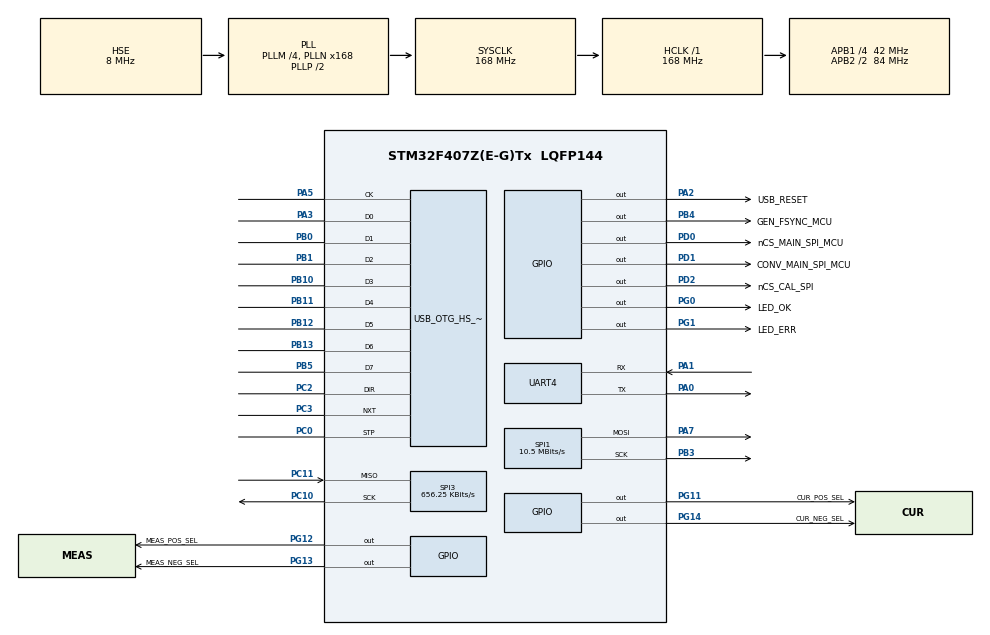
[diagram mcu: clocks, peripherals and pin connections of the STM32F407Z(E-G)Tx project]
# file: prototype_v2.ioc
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Dma.Request0=SPI1_TX
Dma.SPI1_TX.0.Direction=DMA_MEMORY_TO_PERIPH
Dma.SPI1_TX.0.FIFOMode=DMA_FIFOMODE_DISABLE
Dma.SPI1_TX.0.Instance=DMA2_Stream3
Dma.SPI1_TX.0.MemDataAlignment=DMA_MDATAALIGN_BYTE
Dma.SPI1_TX.0.MemInc=DMA_MINC_ENABLE
Dma.SPI1_TX.0.Mode=DMA_NORMAL
Dma.SPI1_TX.0.PeriphDataAlignment=DMA_PDATAALIGN_BYTE
Dma.SPI1_TX.0.PeriphInc=DMA_PINC_DISABLE
Dma.SPI1_TX.0.Priority=DMA_PRIORITY_HIGH
Mcu.Family=STM32F4
Mcu.Name=STM32F407Z(E-G)Tx
Mcu.Package=LQFP144
NVIC.DMA2_Stream3_IRQn=true\:0\:0\:false\:false\:true\:false\:true\:true
NVIC.OTG_HS_IRQn=true\:0\:0\:false\:false\:true\:false\:true\:true
NVIC.PriorityGroup=NVIC_PRIORITYGROUP_4
NVIC.TIM1_BRK_TIM9_IRQn=true\:0\:0\:false\:false\:true\:true\:true\:true
NVIC.TIM1_CC_IRQn=true\:0\:0\:false\:false\:true\:true\:true\:true
NVIC.TIM1_TRG_COM_TIM11_IRQn=true\:0\:0\:false\:false\:true\:true\:true\:true
NVIC.TIM1_UP_TIM10_IRQn=true\:0\:0\:false\:false\:true\:true\:true\:true
NVIC.UART4_IRQn=true\:0\:0\:false\:false\:true\:true\:true\:true
PA0-WKUP.Mode=Asynchronous
PA0-WKUP.Signal=UART4_TX
PA1.Mode=Asynchronous
PA1.Signal=UART4_RX
PA13.Mode=Serial_Wire
PA13.Signal=SYS_JTMS-SWDIO
PA14.Mode=Serial_Wire
PA14.Signal=SYS_JTCK-SWCLK
PA2.GPIO_Label=USB_RESET
PA2.Signal=GPIO_Output
PA3.Mode=Device_HS
PA3.Signal=USB_OTG_HS_ULPI_D0
PA5.Mode=Device_HS
PA5.Signal=USB_OTG_HS_ULPI_CK
PA7.Mode=TX_Only_Simplex_Unidirect_Master
PA7.Signal=SPI1_MOSI
PB0.Mode=Device_HS
PB0.Signal=USB_OTG_HS_ULPI_D1
PB1.Mode=Device_HS
PB1.Signal=USB_OTG_HS_ULPI_D2
PB10.Mode=Device_HS
PB10.Signal=USB_OTG_HS_ULPI_D3
PB11.Mode=Device_HS
PB11.Signal=USB_OTG_HS_ULPI_D4
PB12.Mode=Device_HS
PB12.Signal=USB_OTG_HS_ULPI_D5
PB13.Mode=Device_HS
PB13.Signal=USB_OTG_HS_ULPI_D6
PB3.Mode=TX_Only_Simplex_Unidirect_Master
PB3.Signal=SPI1_SCK
PB4.GPIO_Label=GEN_FSYNC_MCU
PB4.Signal=GPIO_Output
PB5.Mode=Device_HS
PB5.Signal=USB_OTG_HS_ULPI_D7
PC0.Mode=Device_HS
PC0.Signal=USB_OTG_HS_ULPI_STP
PC10.Mode=RX_Only_Simplex_Unidirect_Master
PC10.Signal=SPI3_SCK
PC11.Mode=RX_Only_Simplex_Unidirect_Master
PC11.Signal=SPI3_MISO
PC14-OSC32_IN.Mode=LSE-External-Oscillator
PC14-OSC32_IN.Signal=RCC_OSC32_IN
PC15-OSC32_OUT.Mode=LSE-External-Oscillator
PC15-OSC32_OUT.Signal=RCC_OSC32_OUT
PC2.Mode=Device_HS
PC2.Signal=USB_OTG_HS_ULPI_DIR
PC3.Mode=Device_HS
PC3.Signal=USB_OTG_HS_ULPI_NXT
PD0.GPIO_Label=nCS_MAIN_SPI_MCU
PD0.PinState=GPIO_PIN_RESET
PD0.Signal=GPIO_Output
PD1.GPIO_Label=CONV_MAIN_SPI_MCU
PD1.Signal=GPIO_Output
PD2.GPIO_Label=nCS_CAL_SPI
PD2.PinState=GPIO_PIN_RESET
PD2.Signal=GPIO_Output
PG0.GPIO_Label=LED_OK
PG0.Signal=GPIO_Output
PG1.GPIO_Label=LED_ERR
PG1.Signal=GPIO_Output
PG11.GPIO_Label=CUR_POS_SEL
PG11.Signal=GPIO_Output
PG12.GPIO_Label=MEAS_POS_SEL
PG12.Signal=GPIO_Output
PG13.GPIO_Label=MEAS_NEG_SEL
PG13.Signal=GPIO_Output
PG14.GPIO_Label=CUR_NEG_SEL
PG14.Signal=GPIO_Output
PH0-OSC_IN.Mode=HSE-External-Oscillator
PH0-OSC_IN.Signal=RCC_OSC_IN
PH1-OSC_OUT.Mode=HSE-External-Oscillator
PH1-OSC_OUT.Signal=RCC_OSC_OUT
ProjectManager.HeapSize=0x400
ProjectManager.StackSize=0x800
ProjectManager.TargetToolchain=STM32CubeIDE
RCC.48MHZClocksFreq_Value=84000000
RCC.AHBFreq_Value=168000000
RCC.APB1CLKDivider=RCC_HCLK_DIV4
RCC.APB1Freq_Value=42000000
RCC.APB1TimFreq_Value=84000000
RCC.APB2CLKDivider=RCC_HCLK_DIV2
RCC.APB2Freq_Value=84000000
RCC.APB2TimFreq_Value=168000000
RCC.CortexFreq_Value=168000000
RCC.HCLKFreq_Value=168000000
RCC.HSE_VALUE=8000000
RCC.HSI_VALUE=16000000
RCC.PLLM=4
RCC.PLLN=168
RCC.PLLSourceVirtual=RCC_PLLSOURCE_HSE
RCC.SYSCLKFreq_VALUE=168000000
RCC.SYSCLKSource=RCC_SYSCLKSOURCE_PLLCLK
RCC.VCOOutputFreq_Value=336000000
SPI1.BaudRatePrescaler=SPI_BAUDRATEPRESCALER_8
SPI1.CLKPhase=SPI_PHASE_1EDGE
SPI1.CLKPolarity=SPI_POLARITY_HIGH
SPI1.CalculateBaudRate=10.5 MBits/s
SPI1.DataSize=SPI_DATASIZE_8BIT
SPI1.Direction=SPI_DIRECTION_2LINES
SPI1.Mode=SPI_MODE_MASTER
SPI1.VirtualType=VM_MASTER
SPI3.BaudRatePrescaler=SPI_BAUDRATEPRESCALER_64
SPI3.CLKPhase=SPI_PHASE_2EDGE
SPI3.CLKPolarity=SPI_POLARITY_LOW
SPI3.CalculateBaudRate=656.25 KBits/s
SPI3.DataSize=SPI_DATASIZE_8BIT
SPI3.Direction=SPI_DIRECTION_2LINES_RXONLY
SPI3.Mode=SPI_MODE_MASTER
SPI3.VirtualType=VM_MASTER
TIM1.Channel-Output\ Compare1\ No\ Output=TIM_CHANNEL_1
TIM1.Period=210
UART4.VirtualMode=Asynchronous
USB_DEVICE.APP_RX_DATA_SIZE-CDC_HS=2048
USB_DEVICE.APP_TX_DATA_SIZE-CDC_HS=2048
USB_DEVICE.CLASS_NAME_HS=CDC
USB_DEVICE.VirtualMode-CDC_HS=Cdc
USB_DEVICE.VirtualModeHS=Cdc_HS
USB_OTG_HS.DeviceSpeed-Device_HS=PCD_SPEED_HIGH
USB_OTG_HS.VirtualMode-Device_HS=Device_HS
VP_TIM1_VS_ClockSourceINT.Mode=Internal
VP_TIM1_VS_no_output1.Mode=Output Compare1 No Output
VP_USB_DEVICE_VS_USB_DEVICE_CDC_HS.Mode=CDC_HS
board=custom

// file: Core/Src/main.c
/* USER CODE BEGIN Header */
/**
 ******************************************************************************
 * @file           : main.c
 * @brief          : Main program body
 ******************************************************************************
 * @attention
 *
 * Copyright (c) 2024 STMicroelectronics.
 * All rights reserved.
 *
 * This software is licensed under terms that can be found in the LICENSE file
 * in the root directory of this software component.
 * If no LICENSE file comes with this software, it is provided AS-IS.
 *
 ******************************************************************************
 */
/* USER CODE END Header */
#include "main.h"
#include "usb_device.h"

SPI_HandleTypeDef hspi1;
SPI_HandleTypeDef hspi3;
DMA_HandleTypeDef hdma_spi1_tx;

TIM_HandleTypeDef htim1;

UART_HandleTypeDef huart4;

/* USER CODE BEGIN PV */
uint8_t adc_buf[2] = {0,0};
float adc_res[2] = {0.0,0.0};
int16_t rx_val[2] = {0,0};

uint8_t adc_fl = 0;

/* USER CODE END PV */

void SystemClock_Config(void);
static void MX_GPIO_Init(void);
static void MX_DMA_Init(void);
static void MX_SPI1_Init(void);
static void MX_UART4_Init(void);
static void MX_SPI3_Init(void);
static void MX_TIM1_Init(void);

/* USER CODE BEGIN 0 */
void MCU_init(void)
{
	HAL_GPIO_WritePin(LED_OK_GPIO_Port,LED_OK_Pin,GPIO_PIN_SET);
	HAL_GPIO_WritePin(LED_ERR_GPIO_Port,LED_ERR_Pin,GPIO_PIN_SET);
	HAL_GPIO_WritePin(MEAS_POS_SEL_GPIO_Port,MEAS_POS_SEL_Pin,GPIO_PIN_SET);
	HAL_GPIO_WritePin(MEAS_NEG_SEL_GPIO_Port,MEAS_NEG_SEL_Pin,GPIO_PIN_SET);
	HAL_Delay(2000);
	HAL_GPIO_WritePin(LED_ERR_GPIO_Port,LED_ERR_Pin,GPIO_PIN_RESET);
}

void ADC_Read(uint8_t adc_num)
{

	//HAL_Delay(1);
	HAL_GPIO_WritePin(nCS_CAL_SPI_GPIO_Port, nCS_CAL_SPI_Pin, GPIO_PIN_SET);
	HAL_GPIO_WritePin(nCS_MAIN_SPI_MCU_GPIO_Port, nCS_MAIN_SPI_MCU_Pin, GPIO_PIN_SET);
	//HAL_Delay(1);
	HAL_GPIO_WritePin(CONV_MAIN_SPI_MCU_GPIO_Port, CONV_MAIN_SPI_MCU_Pin, GPIO_PIN_RESET);
	//HAL_Delay(1);
	HAL_GPIO_WritePin(CONV_MAIN_SPI_MCU_GPIO_Port, CONV_MAIN_SPI_MCU_Pin, GPIO_PIN_SET);
	//HAL_Delay(1);
	//switch (adc_num)
	//{
	//case 1:
	HAL_GPIO_WritePin(nCS_CAL_SPI_GPIO_Port, nCS_CAL_SPI_Pin, GPIO_PIN_RESET);
	//HAL_Delay(1);
	HAL_SPI_Receive(&hspi3, adc_buf, 2, -1);
	//HAL_Delay(1);
	HAL_GPIO_WritePin(nCS_CAL_SPI_GPIO_Port, nCS_CAL_SPI_Pin, GPIO_PIN_SET);
	uint16_t raw1 = ((uint16_t) (adc_buf[0]<<8)) | ((uint16_t) adc_buf[1]);
	int16_t * raw_s1 =  (int16_t *) (&raw1);
	rx_val[0] =  (*raw_s1);
	//	break;
	//case 0:
	HAL_GPIO_WritePin(nCS_MAIN_SPI_MCU_GPIO_Port, nCS_MAIN_SPI_MCU_Pin, GPIO_PIN_RESET);
	//HAL_Delay(1);
	HAL_SPI_Receive(&hspi3, adc_buf, 2, -1);
	//HAL_Delay(1);
	HAL_GPIO_WritePin(nCS_MAIN_SPI_MCU_GPIO_Port, nCS_MAIN_SPI_MCU_Pin, GPIO_PIN_SET);
	uint16_t raw = ((uint16_t) (adc_buf[0]<<8)) | ((uint16_t) adc_buf[1]);
	int16_t * raw_s =  (int16_t *) (&raw);
	rx_val[1] =  (*raw_s);

	HAL_GPIO_WritePin(CONV_MAIN_SPI_MCU_GPIO_Port, CONV_MAIN_SPI_MCU_Pin, GPIO_PIN_RESET);
	//HAL_Delay(1);
	HAL_GPIO_WritePin(CONV_MAIN_SPI_MCU_GPIO_Port, CONV_MAIN_SPI_MCU_Pin, GPIO_PIN_SET);
	//	break;
	//}
	//			HAL_GPIO_WritePin(nCS_CAL_SPI_GPIO_Port, nCS_CAL_SPI_Pin, GPIO_PIN_RESET);
	//			HAL_SPI_Receive(&hspi3, adc_buf, 2, 500);
	//			rx_val[0] =  (uint16_t) (((uint16_t) adc_buf[0]<<8) | ((uint16_t) adc_buf[1]));
	//			HAL_GPIO_WritePin(nCS_MAIN_SPI_MCU_GPIO_Port, nCS_MAIN_SPI_MCU_Pin, GPIO_PIN_RESET);
	//			HAL_SPI_Receive(&hspi3, adc_buf, 2, 100);
	//			rx_val[1] =  (uint16_t) (((uint16_t) adc_buf[0]<<8) | ((uint16_t) adc_buf[1]));
	//

}

/* USER CODE END 0 */

int main(void)
{

  /* MCU Configuration--------------------------------------------------------*/

  /* Reset of all peripherals, Initializes the Flash interface and the Systick. */
  HAL_Init();

  /* Configure the system clock */
  SystemClock_Config();

  /* Initialize all configured peripherals */
  MX_GPIO_Init();
  MX_DMA_Init();
  MX_SPI1_Init();
  MX_UART4_Init();
  MX_SPI3_Init();
  MX_USB_DEVICE_Init();
  MX_TIM1_Init();
  /* USER CODE BEGIN 2 */
	MCU_init();
	HAL_TIM_Base_Start_IT(&htim1);
  /* USER CODE END 2 */

  /* Infinite loop */
  /* USER CODE BEGIN WHILE */
	while (1)
	{

		if (adc_fl)
		{
			HAL_TIM_Base_Stop_IT(&htim1);
			char adc_str[64];
			ADC_Read(1);
			adc_res[0] = (float) rx_val[0]*2.5/32768;//
			adc_res[1] = (float) rx_val[1]*2.5/32768;//
			//HAL_Delay(1);

			sprintf(adc_str,"%f, %f\n",adc_res[0],adc_res[1]);
			CDC_Transmit_HS(adc_str, strlen(adc_str));
			adc_fl = 0;
			HAL_TIM_Base_Start_IT(&htim1);
		}
		//HAL_UART_Transmit_IT(&huart1,T1buf,strlen(T1buf));
    /* USER CODE END WHILE */

	}
}

void SystemClock_Config(void)
{
  RCC_OscInitTypeDef RCC_OscInitStruct = {0};
  RCC_ClkInitTypeDef RCC_ClkInitStruct = {0};

  /** Configure the main internal regulator output voltage
  */
  __HAL_RCC_PWR_CLK_ENABLE();
  __HAL_PWR_VOLTAGESCALING_CONFIG(PWR_REGULATOR_VOLTAGE_SCALE1);

  /** Initializes the RCC Oscillators according to the specified parameters
  * in the RCC_OscInitTypeDef structure.
  */
  RCC_OscInitStruct.OscillatorType = RCC_OSCILLATORTYPE_HSE;
  RCC_OscInitStruct.HSEState = RCC_HSE_ON;
  RCC_OscInitStruct.PLL.PLLState = RCC_PLL_ON;
  RCC_OscInitStruct.PLL.PLLSource = RCC_PLLSOURCE_HSE;
  RCC_OscInitStruct.PLL.PLLM = 4;
  RCC_OscInitStruct.PLL.PLLN = 168;
  RCC_OscInitStruct.PLL.PLLP = RCC_PLLP_DIV2;
  RCC_OscInitStruct.PLL.PLLQ = 4;
  if (HAL_RCC_OscConfig(&RCC_OscInitStruct) != HAL_OK)
  {
    Error_Handler();
  }

  /** Initializes the CPU, AHB and APB buses clocks
  */
  RCC_ClkInitStruct.ClockType = RCC_CLOCKTYPE_HCLK|RCC_CLOCKTYPE_SYSCLK
                              |RCC_CLOCKTYPE_PCLK1|RCC_CLOCKTYPE_PCLK2;
  RCC_ClkInitStruct.SYSCLKSource = RCC_SYSCLKSOURCE_PLLCLK;
  RCC_ClkInitStruct.AHBCLKDivider = RCC_SYSCLK_DIV1;
  RCC_ClkInitStruct.APB1CLKDivider = RCC_HCLK_DIV4;
  RCC_ClkInitStruct.APB2CLKDivider = RCC_HCLK_DIV2;

  if (HAL_RCC_ClockConfig(&RCC_ClkInitStruct, FLASH_LATENCY_5) != HAL_OK)
  {
    Error_Handler();
  }
}

static void MX_SPI1_Init(void)
{

  /* SPI1 parameter configuration*/
  hspi1.Instance = SPI1;
  hspi1.Init.Mode = SPI_MODE_MASTER;
  hspi1.Init.Direction = SPI_DIRECTION_2LINES;
  hspi1.Init.DataSize = SPI_DATASIZE_8BIT;
  hspi1.Init.CLKPolarity = SPI_POLARITY_HIGH;
  hspi1.Init.CLKPhase = SPI_PHASE_1EDGE;
  hspi1.Init.NSS = SPI_NSS_SOFT;
  hspi1.Init.BaudRatePrescaler = SPI_BAUDRATEPRESCALER_8;
  hspi1.Init.FirstBit = SPI_FIRSTBIT_MSB;
  hspi1.Init.TIMode = SPI_TIMODE_DISABLE;
  hspi1.Init.CRCCalculation = SPI_CRCCALCULATION_DISABLE;
  hspi1.Init.CRCPolynomial = 10;
  if (HAL_SPI_Init(&hspi1) != HAL_OK)
  {
    Error_Handler();
  }

}

static void MX_SPI3_Init(void)
{

  /* SPI3 parameter configuration*/
  hspi3.Instance = SPI3;
  hspi3.Init.Mode = SPI_MODE_MASTER;
  hspi3.Init.Direction = SPI_DIRECTION_2LINES_RXONLY;
  hspi3.Init.DataSize = SPI_DATASIZE_8BIT;
  hspi3.Init.CLKPolarity = SPI_POLARITY_LOW;
  hspi3.Init.CLKPhase = SPI_PHASE_2EDGE;
  hspi3.Init.NSS = SPI_NSS_SOFT;
  hspi3.Init.BaudRatePrescaler = SPI_BAUDRATEPRESCALER_64;
  hspi3.Init.FirstBit = SPI_FIRSTBIT_MSB;
  hspi3.Init.TIMode = SPI_TIMODE_DISABLE;
  hspi3.Init.CRCCalculation = SPI_CRCCALCULATION_DISABLE;
  hspi3.Init.CRCPolynomial = 10;
  if (HAL_SPI_Init(&hspi3) != HAL_OK)
  {
    Error_Handler();
  }

}

static void MX_TIM1_Init(void)
{

  TIM_ClockConfigTypeDef sClockSourceConfig = {0};
  TIM_MasterConfigTypeDef sMasterConfig = {0};
  TIM_OC_InitTypeDef sConfigOC = {0};
  TIM_BreakDeadTimeConfigTypeDef sBreakDeadTimeConfig = {0};

  htim1.Instance = TIM1;
  htim1.Init.Prescaler = 0;
  htim1.Init.CounterMode = TIM_COUNTERMODE_UP;
  htim1.Init.Period = 210;
  htim1.Init.ClockDivision = TIM_CLOCKDIVISION_DIV1;
  htim1.Init.RepetitionCounter = 0;
  htim1.Init.AutoReloadPreload = TIM_AUTORELOAD_PRELOAD_DISABLE;
  if (HAL_TIM_Base_Init(&htim1) != HAL_OK)
  {
    Error_Handler();
  }
  sClockSourceConfig.ClockSource = TIM_CLOCKSOURCE_INTERNAL;
  if (HAL_TIM_ConfigClockSource(&htim1, &sClockSourceConfig) != HAL_OK)
  {
    Error_Handler();
  }
  if (HAL_TIM_OC_Init(&htim1) != HAL_OK)
  {
    Error_Handler();
  }
  sMasterConfig.MasterOutputTrigger = TIM_TRGO_RESET;
  sMasterConfig.MasterSlaveMode = TIM_MASTERSLAVEMODE_DISABLE;
  if (HAL_TIMEx_MasterConfigSynchronization(&htim1, &sMasterConfig) != HAL_OK)
  {
    Error_Handler();
  }
  sConfigOC.OCMode = TIM_OCMODE_TIMING;
  sConfigOC.Pulse = 0;
  sConfigOC.OCPolarity = TIM_OCPOLARITY_HIGH;
  sConfigOC.OCNPolarity = TIM_OCNPOLARITY_HIGH;
  sConfigOC.OCFastMode = TIM_OCFAST_DISABLE;
  sConfigOC.OCIdleState = TIM_OCIDLESTATE_RESET;
  sConfigOC.OCNIdleState = TIM_OCNIDLESTATE_RESET;
  if (HAL_TIM_OC_ConfigChannel(&htim1, &sConfigOC, TIM_CHANNEL_1) != HAL_OK)
  {
    Error_Handler();
  }
  sBreakDeadTimeConfig.OffStateRunMode = TIM_OSSR_DISABLE;
  sBreakDeadTimeConfig.OffStateIDLEMode = TIM_OSSI_DISABLE;
  sBreakDeadTimeConfig.LockLevel = TIM_LOCKLEVEL_OFF;
  sBreakDeadTimeConfig.DeadTime = 0;
  sBreakDeadTimeConfig.BreakState = TIM_BREAK_DISABLE;
  sBreakDeadTimeConfig.BreakPolarity = TIM_BREAKPOLARITY_HIGH;
  sBreakDeadTimeConfig.AutomaticOutput = TIM_AUTOMATICOUTPUT_DISABLE;
  if (HAL_TIMEx_ConfigBreakDeadTime(&htim1, &sBreakDeadTimeConfig) != HAL_OK)
  {
    Error_Handler();
  }

}

static void MX_UART4_Init(void)
{

  huart4.Instance = UART4;
  huart4.Init.BaudRate = 115200;
  huart4.Init.WordLength = UART_WORDLENGTH_8B;
  huart4.Init.StopBits = UART_STOPBITS_1;
  huart4.Init.Parity = UART_PARITY_NONE;
  huart4.Init.Mode = UART_MODE_TX_RX;
  huart4.Init.HwFlowCtl = UART_HWCONTROL_NONE;
  huart4.Init.OverSampling = UART_OVERSAMPLING_16;
  if (HAL_UART_Init(&huart4) != HAL_OK)
  {
    Error_Handler();
  }

}

static void MX_DMA_Init(void)
{

  /* DMA controller clock enable */
  __HAL_RCC_DMA2_CLK_ENABLE();

  /* DMA interrupt init */
  /* DMA2_Stream3_IRQn interrupt configuration */
  HAL_NVIC_SetPriority(DMA2_Stream3_IRQn, 0, 0);
  HAL_NVIC_EnableIRQ(DMA2_Stream3_IRQn);

}

static void MX_GPIO_Init(void)
{
  GPIO_InitTypeDef GPIO_InitStruct = {0};

  /* GPIO Ports Clock Enable */
  __HAL_RCC_GPIOC_CLK_ENABLE();
  __HAL_RCC_GPIOH_CLK_ENABLE();
  __HAL_RCC_GPIOA_CLK_ENABLE();
  __HAL_RCC_GPIOB_CLK_ENABLE();
  __HAL_RCC_GPIOG_CLK_ENABLE();
  __HAL_RCC_GPIOD_CLK_ENABLE();

  /*Configure GPIO pin Output Level */
  HAL_GPIO_WritePin(USB_RESET_GPIO_Port, USB_RESET_Pin, GPIO_PIN_RESET);

  /*Configure GPIO pin Output Level */
  HAL_GPIO_WritePin(GPIOG, LED_OK_Pin|LED_ERR_Pin|CUR_POS_SEL_Pin|MEAS_POS_SEL_Pin
                          |MEAS_NEG_SEL_Pin|CUR_NEG_SEL_Pin, GPIO_PIN_RESET);

  /*Configure GPIO pin Output Level */
  HAL_GPIO_WritePin(GPIOD, nCS_MAIN_SPI_MCU_Pin|CONV_MAIN_SPI_MCU_Pin|nCS_CAL_SPI_Pin, GPIO_PIN_RESET);

  /*Configure GPIO pin Output Level */
  HAL_GPIO_WritePin(GEN_FSYNC_MCU_GPIO_Port, GEN_FSYNC_MCU_Pin, GPIO_PIN_RESET);

  /*Configure GPIO pin : USB_RESET_Pin */
  GPIO_InitStruct.Pin = USB_RESET_Pin;
  GPIO_InitStruct.Mode = GPIO_MODE_OUTPUT_PP;
  GPIO_InitStruct.Pull = GPIO_NOPULL;
  GPIO_InitStruct.Speed = GPIO_SPEED_FREQ_LOW;
  HAL_GPIO_Init(USB_RESET_GPIO_Port, &GPIO_InitStruct);

  /*Configure GPIO pins : LED_OK_Pin LED_ERR_Pin CUR_POS_SEL_Pin MEAS_POS_SEL_Pin
                           MEAS_NEG_SEL_Pin CUR_NEG_SEL_Pin */
  GPIO_InitStruct.Pin = LED_OK_Pin|LED_ERR_Pin|CUR_POS_SEL_Pin|MEAS_POS_SEL_Pin
                          |MEAS_NEG_SEL_Pin|CUR_NEG_SEL_Pin;
  GPIO_InitStruct.Mode = GPIO_MODE_OUTPUT_PP;
  GPIO_InitStruct.Pull = GPIO_NOPULL;
  GPIO_InitStruct.Speed = GPIO_SPEED_FREQ_LOW;
  HAL_GPIO_Init(GPIOG, &GPIO_InitStruct);

  /*Configure GPIO pins : nCS_MAIN_SPI_MCU_Pin CONV_MAIN_SPI_MCU_Pin nCS_CAL_SPI_Pin */
  GPIO_InitStruct.Pin = nCS_MAIN_SPI_MCU_Pin|CONV_MAIN_SPI_MCU_Pin|nCS_CAL_SPI_Pin;
  GPIO_InitStruct.Mode = GPIO_MODE_OUTPUT_PP;
  GPIO_InitStruct.Pull = GPIO_NOPULL;
  GPIO_InitStruct.Speed = GPIO_SPEED_FREQ_LOW;
  HAL_GPIO_Init(GPIOD, &GPIO_InitStruct);

  /*Configure GPIO pin : GEN_FSYNC_MCU_Pin */
  GPIO_InitStruct.Pin = GEN_FSYNC_MCU_Pin;
  GPIO_InitStruct.Mode = GPIO_MODE_OUTPUT_PP;
  GPIO_InitStruct.Pull = GPIO_NOPULL;
  GPIO_InitStruct.Speed = GPIO_SPEED_FREQ_LOW;
  HAL_GPIO_Init(GEN_FSYNC_MCU_GPIO_Port, &GPIO_InitStruct);

}

void Error_Handler(void)
{
	__disable_irq();
	while (1)
	{
	}
}
